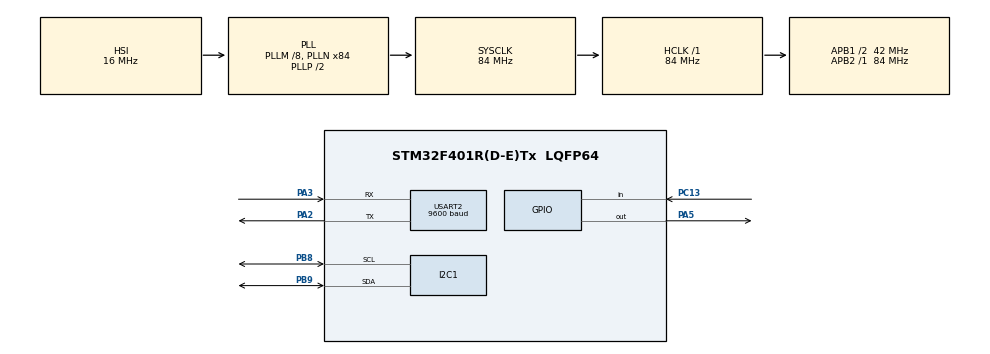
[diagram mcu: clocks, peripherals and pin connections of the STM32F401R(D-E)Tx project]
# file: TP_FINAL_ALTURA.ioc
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Mcu.Family=STM32F4
Mcu.Name=STM32F401R(D-E)Tx
Mcu.Package=LQFP64
NVIC.PriorityGroup=NVIC_PRIORITYGROUP_4
NVIC.USART2_IRQn=true\:0\:0\:false\:false\:true\:true\:true\:true
PA2.Mode=Asynchronous
PA2.Signal=USART2_TX
PA3.Mode=Asynchronous
PA3.Signal=USART2_RX
PA5.Signal=GPIO_Output
PB8.Mode=I2C
PB8.Signal=I2C1_SCL
PB9.Mode=I2C
PB9.Signal=I2C1_SDA
PC13-ANTI_TAMP.Signal=GPIO_Input
PC14-OSC32_IN.Mode=LSE-External-Oscillator
PC14-OSC32_IN.Signal=RCC_OSC32_IN
PC15-OSC32_OUT.Mode=LSE-External-Oscillator
PC15-OSC32_OUT.Signal=RCC_OSC32_OUT
PH0\ -\ OSC_IN.Mode=HSE-External-Clock-Source
PH0\ -\ OSC_IN.Signal=RCC_OSC_IN
PH1\ -\ OSC_OUT.Mode=HSE-External-Clock-Source
PH1\ -\ OSC_OUT.Signal=RCC_OSC_OUT
ProjectManager.HeapSize=0x200
ProjectManager.StackSize=0x400
ProjectManager.TargetToolchain=STM32CubeIDE
RCC.48MHZClocksFreq_Value=42000000
RCC.AHBFreq_Value=84000000
RCC.APB1CLKDivider=RCC_HCLK_DIV2
RCC.APB1Freq_Value=42000000
RCC.APB1TimFreq_Value=84000000
RCC.APB2Freq_Value=84000000
RCC.APB2TimFreq_Value=84000000
RCC.CortexFreq_Value=84000000
RCC.HCLKFreq_Value=84000000
RCC.HSE_VALUE=25000000
RCC.HSI_VALUE=16000000
RCC.PLLM=8
RCC.PLLN=84
RCC.SYSCLKFreq_VALUE=84000000
RCC.SYSCLKSource=RCC_SYSCLKSOURCE_PLLCLK
RCC.VCOOutputFreq_Value=168000000
USART2.BaudRate=9600
USART2.VirtualMode=VM_ASYNC
board=custom

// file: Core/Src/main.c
/* USER CODE BEGIN Header */
/**
  ******************************************************************************
  * @file           : main.c
  * @brief          : Main program body
  ******************************************************************************
  * @attention
  *
  * Copyright (c) 2023 STMicroelectronics.
  * All rights reserved.
  *
  * This software is licensed under terms that can be found in the LICENSE file
  * in the root directory of this software component.
  * If no LICENSE file comes with this software, it is provided AS-IS.
  *
  ******************************************************************************
  */
/* USER CODE END Header */
#include "main.h"

/* USER CODE BEGIN Includes */
#include "bmp280.h"
#include "BMP280_Funtion.h"
#include "API_delay.h"
#include "API_UART.h"
#include "MEF.h"
#include <stdio.h>
/* USER CODE END Includes */

//UART_HandleTypeDef huart2;

/* USER CODE BEGIN PV */
extern I2C_HandleTypeDef hi2c1;
extern UART_HandleTypeDef huart2;
static ReadSensor BUFFER_DATO;
delay_t DelayPrint;
UARTRead_t ReadUART;

/* USER CODE END PV */

void SystemClock_Config(void);
static void MX_GPIO_Init(void);
static void MX_I2C1_Init(void);
static void MX_USART2_UART_Init(void);

int main(void)
{

  /* MCU Configuration--------------------------------------------------------*/

  /* Reset of all peripherals, Initializes the Flash interface and the Systick. */
  HAL_Init();

  /* Configure the system clock */
  SystemClock_Config();

  /* Initialize all configured peripherals */
  MX_GPIO_Init();
  MX_I2C1_Init();
  MX_USART2_UART_Init();
  /* USER CODE BEGIN 2 */
  BMP_280_Init2();
 UART_Init2();
delayInit(&DelayPrint, 500);
  /* USER CODE END 2 */

  /* Infinite loop */
  /* USER CODE BEGIN WHILE */
  while (1)
  {
/*
	  BUFFER_DATO=BMP_280_Read(hi2c1);
	  if(delayRead(&DelayPrint))UART_TrasmitSensor(BUFFER_DATO);

	  ReadUART=UART_Read();

	  	  if(ReadUART.dato>25){
	  		  HAL_GPIO_WritePin(GPIOA, GPIO_PIN_5, RESET);
	  	  }
	  	  else {
	  	  HAL_GPIO_WritePin(GPIOA, GPIO_PIN_5, SET);}

HAL_Delay(200);
*/
MEF();

    /* USER CODE END WHILE */

  }
}

void SystemClock_Config(void)
{
  RCC_OscInitTypeDef RCC_OscInitStruct = {0};
  RCC_ClkInitTypeDef RCC_ClkInitStruct = {0};

  /** Configure the main internal regulator output voltage
  */
  __HAL_RCC_PWR_CLK_ENABLE();
  __HAL_PWR_VOLTAGESCALING_CONFIG(PWR_REGULATOR_VOLTAGE_SCALE2);

  /** Initializes the RCC Oscillators according to the specified parameters
  * in the RCC_OscInitTypeDef structure.
  */
  RCC_OscInitStruct.OscillatorType = RCC_OSCILLATORTYPE_HSI;
  RCC_OscInitStruct.HSIState = RCC_HSI_ON;
  RCC_OscInitStruct.HSICalibrationValue = RCC_HSICALIBRATION_DEFAULT;
  RCC_OscInitStruct.PLL.PLLState = RCC_PLL_ON;
  RCC_OscInitStruct.PLL.PLLSource = RCC_PLLSOURCE_HSI;
  RCC_OscInitStruct.PLL.PLLM = 8;
  RCC_OscInitStruct.PLL.PLLN = 84;
  RCC_OscInitStruct.PLL.PLLP = RCC_PLLP_DIV2;
  RCC_OscInitStruct.PLL.PLLQ = 4;
  if (HAL_RCC_OscConfig(&RCC_OscInitStruct) != HAL_OK)
  {
    Error_Handler();
  }

  /** Initializes the CPU, AHB and APB buses clocks
  */
  RCC_ClkInitStruct.ClockType = RCC_CLOCKTYPE_HCLK|RCC_CLOCKTYPE_SYSCLK
                              |RCC_CLOCKTYPE_PCLK1|RCC_CLOCKTYPE_PCLK2;
  RCC_ClkInitStruct.SYSCLKSource = RCC_SYSCLKSOURCE_PLLCLK;
  RCC_ClkInitStruct.AHBCLKDivider = RCC_SYSCLK_DIV1;
  RCC_ClkInitStruct.APB1CLKDivider = RCC_HCLK_DIV2;
  RCC_ClkInitStruct.APB2CLKDivider = RCC_HCLK_DIV1;

  if (HAL_RCC_ClockConfig(&RCC_ClkInitStruct, FLASH_LATENCY_2) != HAL_OK)
  {
    Error_Handler();
  }
}

static void MX_I2C1_Init(void)
{

  hi2c1.Instance = I2C1;
  hi2c1.Init.ClockSpeed = 100000;
  hi2c1.Init.DutyCycle = I2C_DUTYCYCLE_2;
  hi2c1.Init.OwnAddress1 = 0;
  hi2c1.Init.AddressingMode = I2C_ADDRESSINGMODE_7BIT;
  hi2c1.Init.DualAddressMode = I2C_DUALADDRESS_DISABLE;
  hi2c1.Init.OwnAddress2 = 0;
  hi2c1.Init.GeneralCallMode = I2C_GENERALCALL_DISABLE;
  hi2c1.Init.NoStretchMode = I2C_NOSTRETCH_DISABLE;
  if (HAL_I2C_Init(&hi2c1) != HAL_OK)
  {
    Error_Handler();
  }

}

static void MX_USART2_UART_Init(void)
{

  huart2.Instance = USART2;
  huart2.Init.BaudRate = 9600;
  huart2.Init.WordLength = UART_WORDLENGTH_8B;
  huart2.Init.StopBits = UART_STOPBITS_1;
  huart2.Init.Parity = UART_PARITY_NONE;
  huart2.Init.Mode = UART_MODE_TX_RX;
  huart2.Init.HwFlowCtl = UART_HWCONTROL_NONE;
  huart2.Init.OverSampling = UART_OVERSAMPLING_16;
  if (HAL_UART_Init(&huart2) != HAL_OK)
  {
    Error_Handler();
  }

}

static void MX_GPIO_Init(void)
{
  GPIO_InitTypeDef GPIO_InitStruct = {0};

  /* GPIO Ports Clock Enable */
  __HAL_RCC_GPIOC_CLK_ENABLE();
  __HAL_RCC_GPIOH_CLK_ENABLE();
  __HAL_RCC_GPIOA_CLK_ENABLE();
  __HAL_RCC_GPIOB_CLK_ENABLE();

  /*Configure GPIO pin Output Level */
  HAL_GPIO_WritePin(GPIOA, GPIO_PIN_5, GPIO_PIN_RESET);

  /*Configure GPIO pin : PC13 */
  GPIO_InitStruct.Pin = GPIO_PIN_13;
  GPIO_InitStruct.Mode = GPIO_MODE_INPUT;
  GPIO_InitStruct.Pull = GPIO_NOPULL;
  HAL_GPIO_Init(GPIOC, &GPIO_InitStruct);

  /*Configure GPIO pin : PA5 */
  GPIO_InitStruct.Pin = GPIO_PIN_5;
  GPIO_InitStruct.Mode = GPIO_MODE_OUTPUT_PP;
  GPIO_InitStruct.Pull = GPIO_NOPULL;
  GPIO_InitStruct.Speed = GPIO_SPEED_FREQ_LOW;
  HAL_GPIO_Init(GPIOA, &GPIO_InitStruct);

}

void Error_Handler(void)
{
  __disable_irq();
  while (1)
  {
  }
}
